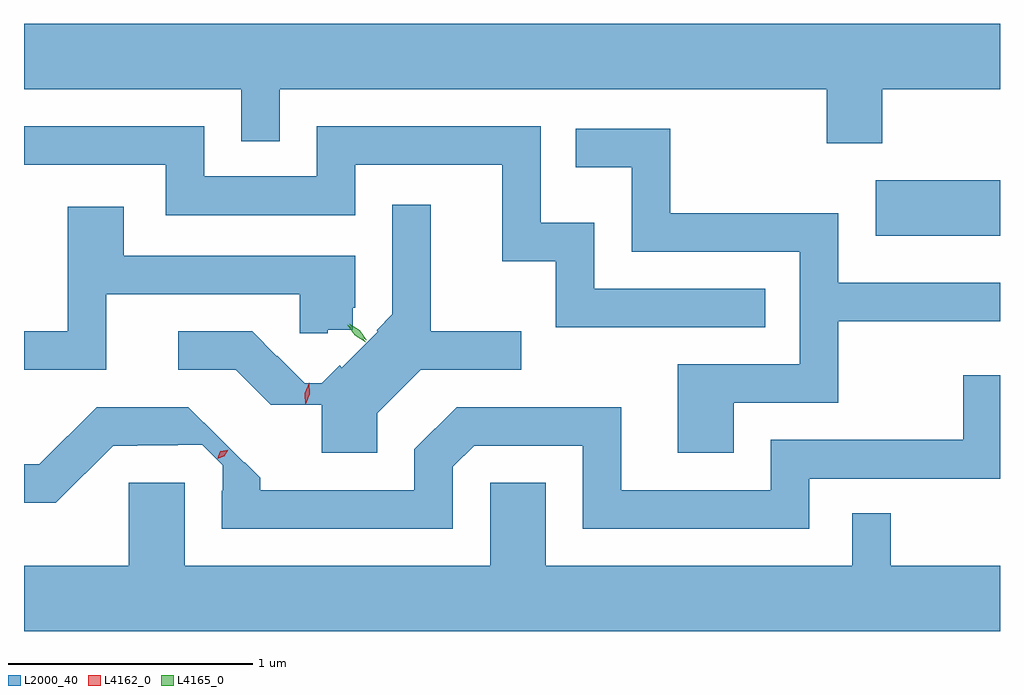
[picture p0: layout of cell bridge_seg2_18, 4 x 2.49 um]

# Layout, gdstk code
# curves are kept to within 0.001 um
import gdstk
lib = gdstk.Library(unit=1e-6, precision=1e-09)
def R(c, l, rs):  # rectangles x0, y0, x1, y1
    for r in rs: c.add(gdstk.rectangle(r[:2], r[2:], *l))
def P(c, l, *ps):  # polygons
    for p in ps: c.add(gdstk.Polygon(p, *l))
L2000_40 = (2000, 40)
L4162_0 = (4162, 0)
L4165_0 = (4165, 0)

bridge_seg2_18 = lib.new_cell('bridge_seg2_18')
R(bridge_seg2_18, L2000_40, [(1738.461,1103.216,1738.971,1103.444)])
P(bridge_seg2_18, L2000_40, [(1738.489,1103.816),(1738.971,1103.816),(1738.971,1104.084),(1734.971,1104.084),(1734.971,1103.816),(1735.861,1103.816),(1735.861,1103.603),(1736.019,1103.603),(1736.019,1103.816),(1738.261,1103.816),(1738.261,1103.596),(1738.489,1103.596)],
  [(1738.008,1102.999),(1737.309,1102.999),(1737.309,1103.269),(1737.089,1103.269),(1737.089,1103.664),(1736.171,1103.664),(1736.171,1103.459),(1735.709,1103.459),(1735.709,1103.664),(1734.971,1103.664),(1734.971,1103.506),(1735.551,1103.506),(1735.551,1103.301),(1736.329,1103.301),(1736.329,1103.506),(1736.931,1103.506),(1736.931,1103.111),(1737.151,1103.111),(1737.151,1102.841),(1738.008,1102.841)],
  [(1737.879,1102.531),(1738.309,1102.531),(1738.309,1102.866),(1738.971,1102.866),(1738.971,1103.024),(1738.309,1103.024),(1738.309,1103.309),(1737.619,1103.309),(1737.619,1103.654),(1737.233,1103.654),(1737.233,1103.496),(1737.461,1103.496),(1737.461,1103.151),(1738.151,1103.151),(1738.151,1102.689),(1737.651,1102.689),(1737.651,1102.326),(1737.879,1102.326)],
  [(1736.419,1102.489),(1736.597,1102.666),(1737.008,1102.666),(1737.008,1102.824),(1736.639,1102.824),(1736.639,1103.343),(1736.481,1103.343),(1736.481,1102.894),(1736.416,1102.829),(1736.421,1102.823),(1736.274,1102.676),(1736.265,1102.685),(1736.192,1102.612),(1736.122,1102.612),(1736.009,1102.725),(1736.007,1102.723),(1735.907,1102.824),(1735.603,1102.824),(1735.603,1102.666),(1735.839,1102.666),(1735.982,1102.523),(1736.191,1102.523),(1736.191,1102.326),(1736.419,1102.326)],
  [(1735.309,1102.976),(1736.101,1102.976),(1736.101,1102.817),(1736.215,1102.817),(1736.215,1102.831),(1736.318,1102.831),(1736.318,1102.921),(1736.329,1102.921),(1736.329,1103.134),(1735.379,1103.134),(1735.379,1103.334),(1735.151,1103.334),(1735.151,1102.824),(1734.971,1102.824),(1734.971,1102.666),(1735.309,1102.666)],
  [(1736.729,1102.269),(1736.817,1102.356),(1737.261,1102.356),(1737.261,1102.016),(1738.189,1102.016),(1738.189,1102.221),(1738.971,1102.221),(1738.971,1102.644),(1738.821,1102.644),(1738.821,1102.379),(1738.031,1102.379),(1738.031,1102.174),(1737.419,1102.174),(1737.419,1102.514),(1736.744,1102.514),(1736.571,1102.342),(1736.571,1102.174),(1735.939,1102.174),(1735.939,1102.224),(1735.876,1102.287),(1735.874,1102.285),(1735.644,1102.514),(1735.269,1102.514),(1735.034,1102.279),(1734.971,1102.279),(1734.971,1102.121),(1735.102,1102.121),(1735.337,1102.356),(1735.435,1102.356),(1735.435,1102.358),(1735.601,1102.358),(1735.601,1102.36),(1735.701,1102.36),(1735.785,1102.276),(1735.785,1102.17),(1735.781,1102.17),(1735.781,1102.016),(1736.729,1102.016)],
  [(1738.971,1101.864),(1738.524,1101.864),(1738.524,1102.078),(1738.366,1102.078),(1738.366,1101.864),(1737.109,1101.864),(1737.109,1102.204),(1736.881,1102.204),(1736.881,1101.864),(1735.629,1101.864),(1735.629,1102.204),(1735.401,1102.204),(1735.401,1101.864),(1734.971,1101.864),(1734.971,1101.596),(1738.971,1101.596)])
P(bridge_seg2_18, L4162_0, [(1735.762,1102.302),(1735.762,1102.302),(1735.78,1102.328),(1735.808,1102.34),(1735.809,1102.34),(1735.809,1102.339),(1735.792,1102.313),(1735.763,1102.302)],
  [(1736.126,1102.53),(1736.123,1102.57),(1736.138,1102.608),(1736.138,1102.608),(1736.139,1102.608),(1736.142,1102.568),(1736.127,1102.53),(1736.127,1102.53)],
  [(1735.767,1102.312),(1735.767,1102.312),(1735.776,1102.332),(1735.797,1102.337),(1735.798,1102.337),(1735.798,1102.336),(1735.789,1102.317),(1735.768,1102.312)],
  [(1736.123,1102.524),(1736.122,1102.571),(1736.14,1102.613),(1736.141,1102.614),(1736.141,1102.613),(1736.142,1102.567),(1736.124,1102.524),(1736.124,1102.524)])
P(bridge_seg2_18, L4165_0, [(1736.372,1102.78),(1736.327,1102.808),(1736.295,1102.851),(1736.295,1102.852),(1736.296,1102.852),(1736.341,1102.823),(1736.372,1102.78),(1736.372,1102.78)],
  [(1736.375,1102.787),(1736.332,1102.814),(1736.303,1102.855),(1736.303,1102.856),(1736.303,1102.856),(1736.346,1102.828),(1736.376,1102.788),(1736.376,1102.787)])

lib.write_gds('bridge_seg2_18.gds')
